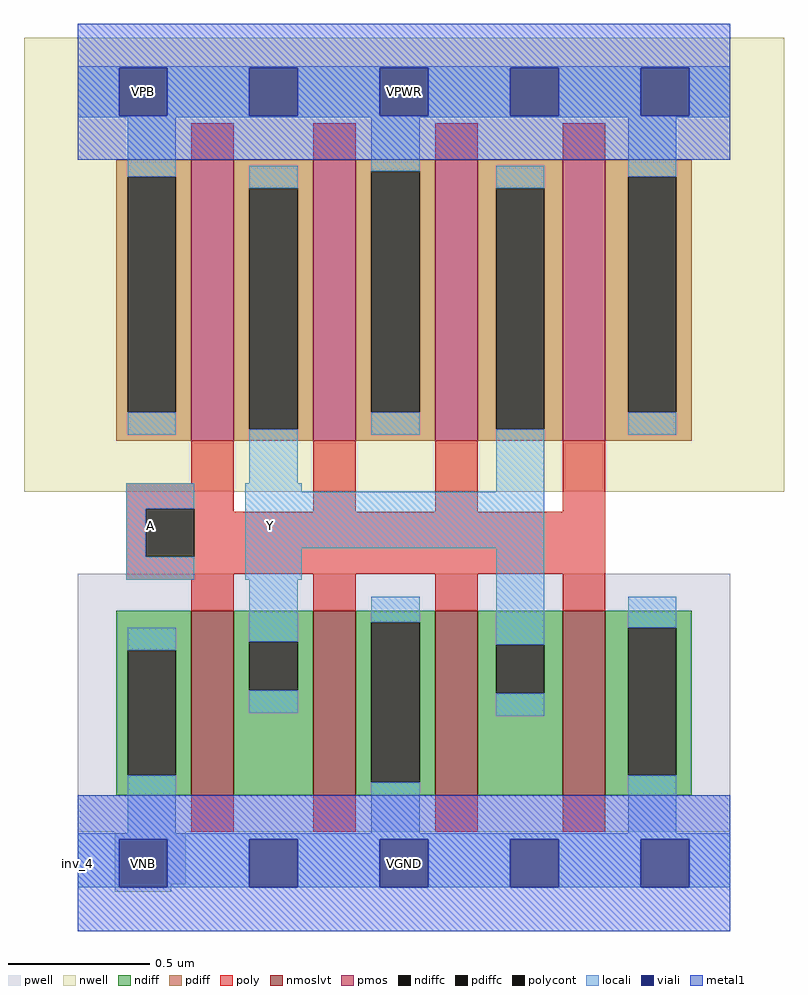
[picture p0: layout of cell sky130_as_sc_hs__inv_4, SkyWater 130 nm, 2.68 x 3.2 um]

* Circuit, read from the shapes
.subckt sky130_as_sc_hs__inv_4 VNB VPB VGND VPWR A Y
XM1 Y A VGND VNB sky130_fd_pr__nfet_01v8_lvt w=0.65 l=0.15 m=4
XM2 Y A VPWR VPB sky130_fd_pr__pfet_01v8 w=0.99 l=0.15 m=4
.ends

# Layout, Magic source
magic
tech sky130A
magscale 1 2
<< nwell >>
rect -38 262 498 582
<< pwell >>
rect 0 22 460 204
rect 26 -15 76 22
rect 26 -20 66 -15
<< pmos >>
rect 80 298 110 496
rect 166 298 196 496
rect 252 298 282 496
rect 342 298 372 496
<< nmoslvt >>
rect 80 48 110 178
rect 166 48 196 178
rect 252 48 282 178
rect 342 48 372 178
<< ndiff >>
rect 27 150 80 178
rect 27 62 35 150
rect 69 62 80 150
rect 27 48 80 62
rect 110 156 166 178
rect 110 122 121 156
rect 155 122 166 156
rect 110 48 166 122
rect 196 170 252 178
rect 196 57 207 170
rect 241 57 252 170
rect 196 48 252 57
rect 282 154 342 178
rect 282 120 295 154
rect 329 120 342 154
rect 282 48 342 120
rect 372 166 433 178
rect 372 62 388 166
rect 422 62 433 166
rect 372 48 433 62
<< pdiff >>
rect 27 484 80 496
rect 27 318 35 484
rect 69 318 80 484
rect 27 298 80 318
rect 110 476 166 496
rect 110 306 121 476
rect 155 306 166 476
rect 110 298 166 306
rect 196 488 252 496
rect 196 318 207 488
rect 241 318 252 488
rect 196 298 252 318
rect 282 476 342 496
rect 282 306 295 476
rect 329 306 342 476
rect 282 298 342 306
rect 372 484 433 496
rect 372 318 388 484
rect 422 318 433 484
rect 372 298 433 318
<< ndiffc >>
rect 35 62 69 150
rect 121 122 155 156
rect 207 57 241 170
rect 295 120 329 154
rect 388 62 422 166
<< pdiffc >>
rect 35 318 69 484
rect 121 306 155 476
rect 207 318 241 488
rect 295 306 329 476
rect 388 318 422 484
<< poly >>
rect 80 496 110 522
rect 166 496 196 522
rect 252 496 282 522
rect 342 496 372 522
rect 80 268 110 298
rect 34 250 110 268
rect 34 216 48 250
rect 82 248 110 250
rect 166 248 196 298
rect 252 248 282 298
rect 342 248 372 298
rect 82 216 372 248
rect 34 204 372 216
rect 34 200 110 204
rect 80 178 110 200
rect 166 178 196 204
rect 252 178 282 204
rect 342 178 372 204
rect 80 22 110 48
rect 166 22 196 48
rect 252 22 282 48
rect 342 22 372 48
<< polycont >>
rect 48 216 82 250
<< locali >>
rect 0 561 460 562
rect 0 527 29 561
rect 63 527 121 561
rect 155 527 213 561
rect 247 527 305 561
rect 339 527 397 561
rect 431 527 460 561
rect 0 526 460 527
rect 35 484 69 526
rect 35 302 69 318
rect 121 476 155 492
rect 121 268 155 306
rect 207 488 241 526
rect 207 302 241 318
rect 295 476 329 492
rect 34 250 82 268
rect 34 216 48 250
rect 34 200 82 216
rect 118 262 158 268
rect 295 262 329 306
rect 388 484 422 526
rect 388 302 422 318
rect 118 222 329 262
rect 118 200 158 222
rect 35 150 69 166
rect 121 156 155 200
rect 121 106 155 122
rect 207 170 241 188
rect 35 21 69 62
rect 295 154 329 222
rect 295 104 329 120
rect 388 166 422 188
rect 207 21 241 57
rect 388 21 422 62
rect 0 17 460 21
rect 0 -17 29 17
rect 63 -17 121 17
rect 155 -17 213 17
rect 247 -17 305 17
rect 339 -17 397 17
rect 431 -17 460 17
<< viali >>
rect 29 527 63 561
rect 121 527 155 561
rect 213 527 247 561
rect 305 527 339 561
rect 397 527 431 561
rect 29 -17 63 17
rect 121 -17 155 17
rect 213 -17 247 17
rect 305 -17 339 17
rect 397 -17 431 17
<< metal1 >>
rect 0 561 460 592
rect 0 527 29 561
rect 63 527 121 561
rect 155 527 213 561
rect 247 527 305 561
rect 339 527 397 561
rect 431 527 460 561
rect 0 496 460 527
rect 0 17 460 48
rect 0 -17 29 17
rect 63 -17 121 17
rect 155 -17 213 17
rect 247 -17 305 17
rect 339 -17 397 17
rect 431 -17 460 17
rect 0 -48 460 -17
<< labels >>
rlabel comment s 0 0 0 0 4 inv_4
flabel pwell s 29 -17 63 17 0 FreeSans 200 0 0 0 VNB
port 1 nsew ground bidirectional
flabel pwell s 46 0 46 0 0 FreeSans 200 0 0 0 VNB
flabel nwell s 29 527 63 561 0 FreeSans 200 0 0 0 VPB
port 2 nsew power bidirectional
flabel nwell s 46 544 46 544 0 FreeSans 200 0 0 0 VPB
flabel metal1 s 29 527 63 561 0 FreeSans 200 0 0 0 VPWR
port 4 nsew power bidirectional abutment
rlabel metal1 s 0 496 460 592 1 VPWR
port 4 nsew power bidirectional abutment
rlabel metal1 s 0 -48 460 48 1 VGND
port 3 nsew ground bidirectional abutment
flabel metal1 s 29 -17 63 17 0 FreeSans 200 0 0 0 VGND
port 3 nsew ground bidirectional abutment
flabel locali 34 221 68 255 0 FreeSans 200 0 0 0 A
port 5 nsew signal input
flabel locali 51 238 51 238 0 FreeSans 200 0 0 0 A
flabel locali 119 221 153 255 0 FreeSans 200 0 0 0 Y
port 6 nsew signal output
flabel locali 136 238 136 238 0 FreeSans 200 0 0 0 Y
<< properties >>
string FIXED_BBOX 0 0 460 544
string GDS_FILE $PDKPATH/libs.ref/sky130_as_sc_hs/gds/sky130_as_sc_hs__inv_4.gds
string LEFclass CORE
string LEFsite unithd
string LEFsymmetry X Y R90
string MASKHINTS_LVTN 0 -4 460 214
string MASKHINTS_NSDM 0 -38 460 204
string MASKHINTS_PSDM 0 270 460 582
<< end >>
